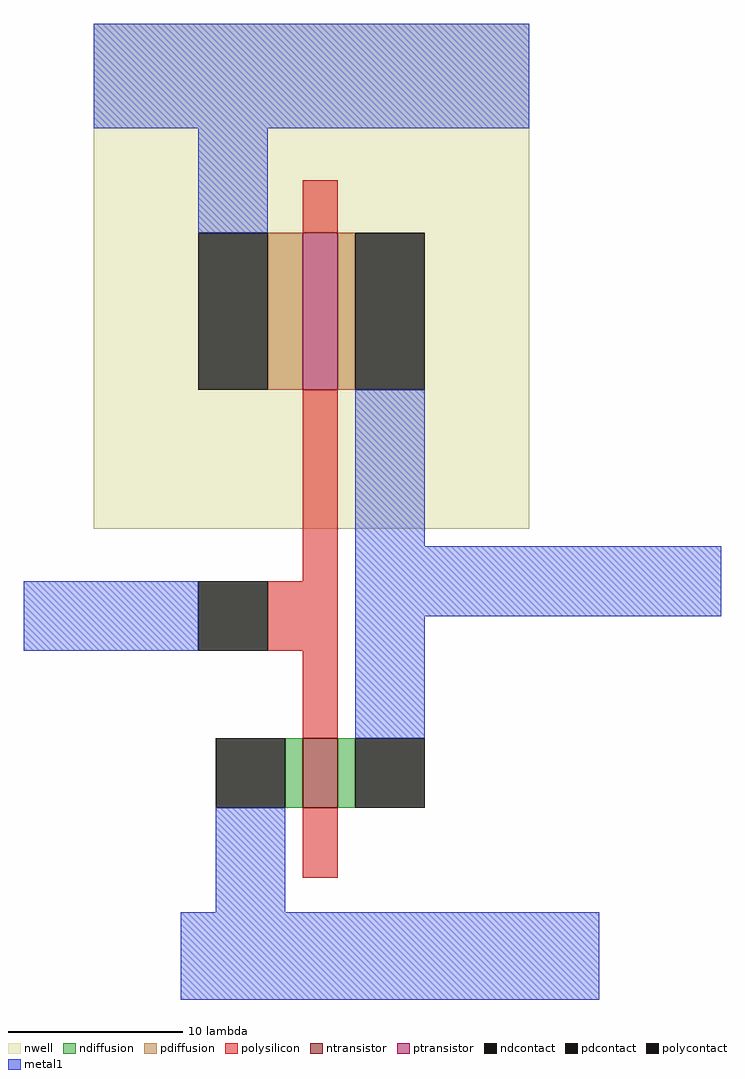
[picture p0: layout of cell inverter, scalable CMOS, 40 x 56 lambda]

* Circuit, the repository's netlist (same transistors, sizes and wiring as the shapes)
* SPICE3 file created from inverter.ext - technology: scmos
.include 22nm_MGK.pm
.param SUPPLY=1
.option scale=0.09u
.global vdd gnd


Vdd vdd gnd 'SUPPLY'
vinA inA gnd pulse 0 1 0ns 0.5ns 0.5ns 10ns 20ns
vinB inB gnd pulse 0 1 0ns 0.5ns 0.5ns 20ns 40ns



M1000 out inA gnd Gnd nmos w=4 l=2
+  ad=20 pd=18 as=20 ps=18
M1001 out inA vdd vdd pmos w=9 l=2
+  ad=45 pd=28 as=54 ps=30


.tran 0.1n 40n

.control
* set hcopycolor = 1
* set color0=white
* set color1=black

run
plot v(inA) v(out)+2

.endc

.end

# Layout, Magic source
magic
tech scmos
<< nwell >>
rect 0 0 25 29
<< ntransistor >>
rect 12 -16 14 -12
<< ptransistor >>
rect 12 8 14 17
<< ndiffusion >>
rect 11 -16 12 -12
rect 14 -16 15 -12
<< pdiffusion >>
rect 10 8 12 17
rect 14 8 15 17
<< ndcontact >>
rect 7 -16 11 -12
rect 15 -16 19 -12
<< pdcontact >>
rect 6 8 10 17
rect 15 8 19 17
<< polysilicon >>
rect 12 17 14 20
rect 12 -3 14 8
rect 10 -7 14 -3
rect 12 -12 14 -7
rect 12 -20 14 -16
<< polycontact >>
rect 6 -7 10 -3
<< metal1 >>
rect 0 23 25 29
rect 6 17 10 23
rect 15 -1 19 8
rect -4 -7 6 -3
rect 15 -5 36 -1
rect 15 -12 19 -5
rect 7 -22 11 -16
rect 5 -27 29 -22
<< end >>
